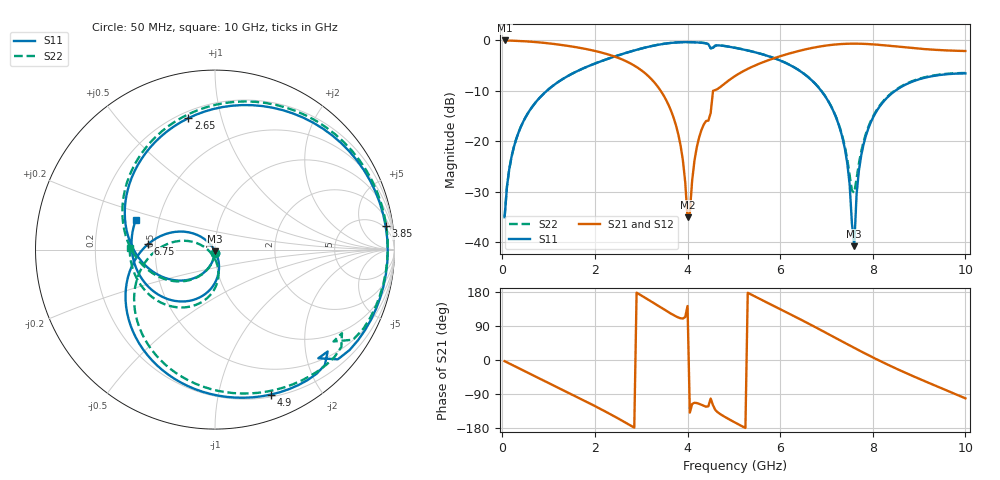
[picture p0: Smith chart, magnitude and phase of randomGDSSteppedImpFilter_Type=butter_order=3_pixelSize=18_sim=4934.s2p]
! freq	dB(S11)	phase(S11)	dB(S12)	phase(S12)
!  dB(S21)	phase(S21)	dB(S22)	phase(S22)
!S-par simulation data
#  GHz  S  DB  R 50
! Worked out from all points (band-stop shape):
!   200 points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, 50 MHz to 10 GHz, reference 50 ohm
!   highest |S21| = 0.00 dB at 50 MHz (marker M1); lowest = -35.1 dB at 4 GHz (marker M2)
!   |S21| within 3 dB of the highest: start of sweep to 2.364 GHz; 6.046 GHz to end of sweep
!   lowest |S11| = -40.8 dB at 7.6 GHz (marker M3), VSWR 1.02, Z = 49.9 - j0.897 ohm
!   |S11| at or under -10 dB: start of sweep to 960.8 MHz; 6.887 GHz to 8.484 GHz (1.597 GHz wide, 20.8 % of centre)
!   |S22| runs from -35.1 to -0.3 dB; largest |S21 - S12| = 0
!   S11 on the Smith chart (normalised r, x): 50 MHz: 1.00, -0.04; 2.65 GHz: 0.24, +0.79; 3.85 GHz: 4, +13; 4.9 GHz: 0.22, -1.44; 6.75 GHz: 0.46, +0.03; 10 GHz: 0.37, +0.16
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0.05  -35.09 -93.2  -0.00 -3.1  -0.00 -3.1  -35.09 -93.1
0.2  -23.08 -102.6  -0.04 -12.3  -0.04 -12.3  -23.07 -102.3
0.5  -15.29 -121.5  -0.18 -30.5  -0.18 -30.5  -15.27 -120.7
1.15  -8.61 -161.3  -0.74 -69.6  -0.74 -69.6  -8.60 -159.2
1.75  -5.53 161.4  -1.60 -106.0  -1.60 -106.0  -5.53 164.9
2.65  -2.53 101.5  -4.02 -164.4  -4.02 -164.4  -2.53 107.2
3.4  -0.80 44.3  -9.72 140.3  -9.72 140.3  -0.80 51.7
3.85  -0.36 7.8  -20.84 110.1  -20.84 110.1  -0.35 15.9
4  -0.33 -4.3  -35.12 142.4  -35.12 142.4  -0.32 4.0
4.2  -0.39 -20.3  -21.19 -113.6  -21.19 -113.6  -0.38 -11.8
4.55  -1.45 -42.1  -10.00 -119.4  -10.00 -119.4  -1.44 -33.3
4.9  -1.25 -68.9  -7.87 -156.7  -7.87 -156.7  -1.24 -59.9
5.05  -1.50 -78.9  -6.93 -166.6  -6.93 -166.6  -1.49 -69.9
5.9  -3.62 -131.9  -3.43 140.4  -3.43 140.4  -3.60 -122.2
6.7  -8.07 178.5  -1.47 90.5  -1.47 90.5  -8.04 -169.6
6.75  -8.53 175.4  -1.38 87.3  -1.38 87.3  -8.50 -172.5
7.35  -19.48 137.6  -0.70 48.2  -0.70 48.2  -19.23 160.3
7.6  -40.83 -98.5  -0.64 32.0  -0.64 32.0  -30.25 -124.8
7.65  -30.58 -71.5  -0.64 28.8  -0.64 28.8  -27.44 -98.2
7.8  -20.66 -76.0  -0.68 19.3  -0.68 19.3  -20.13 -80.7
8.35  -11.01 -108.2  -1.05 -13.8  -1.05 -13.8  -10.88 -101.3
10  -6.53 159.5  -2.10 -101.2  -2.10 -101.2  -6.46 178.6
